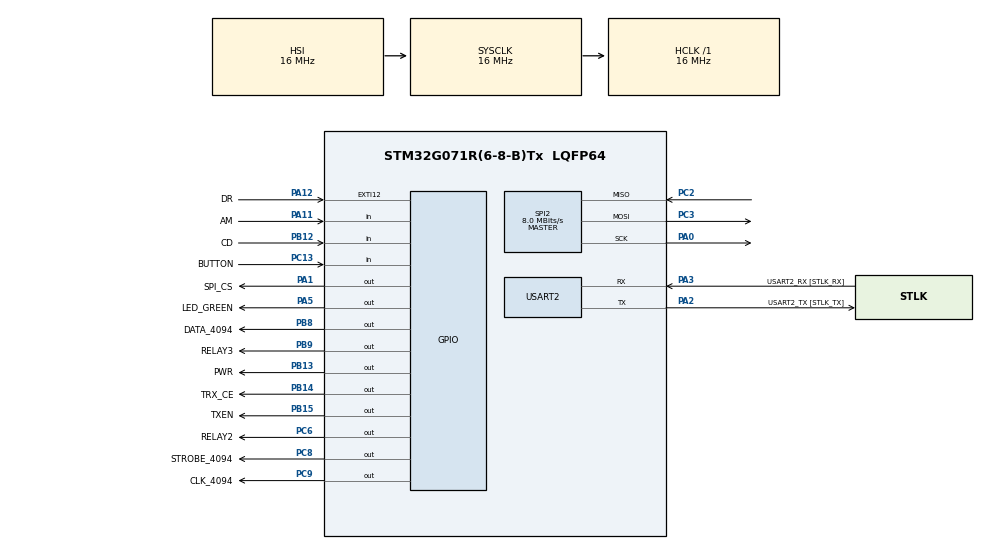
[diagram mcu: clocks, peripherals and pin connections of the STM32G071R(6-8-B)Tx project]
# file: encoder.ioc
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Mcu.Family=STM32G0
Mcu.Name=STM32G071R(6-8-B)Tx
Mcu.Package=LQFP64
NVIC.EXTI4_15_IRQn=true\:0\:0\:false\:false\:true\:true\:true\:true
NVIC.SPI2_IRQn=true\:0\:0\:false\:false\:true\:true\:true\:true
PA0.GPIO_PuPd=GPIO_NOPULL
PA0.Mode=Full_Duplex_Master
PA0.Signal=SPI2_SCK
PA1.GPIO_Label=SPI_CS
PA1.GPIO_PuPd=GPIO_NOPULL
PA1.Signal=GPIO_Output
PA11\ [PA9].GPIO_Label=AM
PA11\ [PA9].Signal=GPIO_Input
PA12\ [PA10].GPIO_Label=DR
PA12\ [PA10].Signal=GPXTI12
PA13.GPIO_Label=TMS
PA13.Mode=Serial_Wire
PA13.Signal=SYS_SWDIO
PA14-BOOT0.GPIO_Label=TCK
PA14-BOOT0.Mode=Serial_Wire
PA14-BOOT0.Signal=SYS_SWCLK
PA2.GPIO_Label=USART2_TX [STLK_TX]
PA2.GPIO_PuPd=GPIO_PULLUP
PA2.Mode=Asynchronous
PA2.Signal=USART2_TX
PA3.GPIO_Label=USART2_RX [STLK_RX]
PA3.GPIO_PuPd=GPIO_PULLUP
PA3.Mode=Asynchronous
PA3.Signal=USART2_RX
PA5.GPIO_Label=LED_GREEN
PA5.GPIO_Speed=GPIO_SPEED_FREQ_HIGH
PA5.Signal=GPIO_Output
PB12.GPIO_Label=CD
PB12.Signal=GPIO_Input
PB13.GPIO_Label=PWR
PB13.GPIO_PuPd=GPIO_NOPULL
PB13.Signal=GPIO_Output
PB14.GPIO_Label=TRX_CE
PB14.GPIO_PuPd=GPIO_NOPULL
PB14.Signal=GPIO_Output
PB15.GPIO_Label=TXEN
PB15.GPIO_PuPd=GPIO_NOPULL
PB15.Signal=GPIO_Output
PB8.GPIO_Label=DATA_4094
PB8.Signal=GPIO_Output
PB9.GPIO_Label=RELAY3
PB9.Signal=GPIO_Output
PC13.GPIO_Label=BUTTON
PC13.Signal=GPIO_Input
PC14-OSC32_IN\ (PC14).Mode=LSE-External-Oscillator
PC14-OSC32_IN\ (PC14).Signal=RCC_OSC32_IN
PC15-OSC32_OUT\ (PC15).Mode=LSE-External-Oscillator
PC15-OSC32_OUT\ (PC15).Signal=RCC_OSC32_OUT
PC2.GPIO_PuPd=GPIO_NOPULL
PC2.Mode=Full_Duplex_Master
PC2.Signal=SPI2_MISO
PC3.GPIO_PuPd=GPIO_NOPULL
PC3.Mode=Full_Duplex_Master
PC3.Signal=SPI2_MOSI
PC6.GPIO_Label=RELAY2
PC6.Signal=GPIO_Output
PC8.GPIO_Label=STROBE_4094
PC8.Signal=GPIO_Output
PC9.GPIO_Label=CLK_4094
PC9.Signal=GPIO_Output
PF0-OSC_IN\ (PF0).GPIO_Label=MCO
PF0-OSC_IN\ (PF0).Mode=HSE-External-Clock-Source
PF0-OSC_IN\ (PF0).Signal=RCC_OSC_IN
ProjectManager.HeapSize=0x200
ProjectManager.StackSize=0x400
ProjectManager.TargetToolchain=STM32CubeIDE
RCC.AHBFreq_Value=16000000
RCC.CortexFreq_Value=16000000
RCC.EXTERNAL_CLOCK_VALUE=12288000
RCC.HCLKFreq_Value=16000000
RCC.HSE_VALUE=8000000
RCC.HSI_VALUE=16000000
RCC.SYSCLKFreq_VALUE=16000000
RCC.VCOOutputFreq_Value=128000000
SPI2.BaudRatePrescaler=SPI_BAUDRATEPRESCALER_2
SPI2.CalculateBaudRate=8.0 MBits/s
SPI2.DataSize=SPI_DATASIZE_8BIT
SPI2.Direction=SPI_DIRECTION_2LINES
SPI2.Mode=SPI_MODE_MASTER
SPI2.VirtualType=VM_MASTER
TIM3.Prescaler=79
USART2.VirtualMode-Asynchronous=VM_ASYNC
VP_SYS_VS_DBSignals.Mode=DisableDeadBatterySignals
VP_TIM3_VS_ClockSourceINT.Mode=Internal
board=NUCLEO-G071RB

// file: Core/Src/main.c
/* USER CODE BEGIN Header */
/**
 ******************************************************************************
 * @file           : main.c
 * @brief          : Main program body
 ******************************************************************************
 * @attention
 *
 * Copyright (c) 2022 STMicroelectronics.
 * All rights reserved.
 *
 * This software is licensed under terms that can be found in the LICENSE file
 * in the root directory of this software component.
 * If no LICENSE file comes with this software, it is provided AS-IS.
 *
 ******************************************************************************
 */
/* USER CODE END Header */
#include "main.h"
#include "spi.h"
#include "tim.h"
#include "usart.h"
#include "gpio.h"

/* USER CODE BEGIN Includes */
#include <stdio.h>
#include <stdlib.h>
#include <stdbool.h>
#include "cd4094.h"

#include "NRF905.h"
/* USER CODE END Includes */

void SystemClock_Config(void);
/* USER CODE BEGIN PFP */
//int _write(int file, char *ptr, int len) {
//	HAL_UART_Transmit(&huart2, (uint8_t*) ptr, len, 50);
//	for (int i = 0; i < len; i++) {
//		ITM_SendChar(*ptr++);
//	}
//	return len;
//}
/* USER CODE END PFP */

/* USER CODE BEGIN 0 */
extern void initialise_monitor_handles(void);
NRF905_hw_t NRF905_hw;
NRF905_t NRF905;

int master;
int ret;

char buffer[64];
uint8_t nrf905_payload_buffer[NRF905_MAX_PAYLOAD];

volatile bool tx_flag = false;
volatile int state = 0;

int dr = 0;
int temp_dr = 0;

uint32_t my_address;
uint32_t receiver_address;

#define ADDRESS_MASTER 0xA2B5D154
#define ADDRESS_SLAVE  0xA2B5D154

/* USER CODE END 0 */

int main(void)
{
	/* USER CODE BEGIN 1 */
	initialise_monitor_handles();
	/* USER CODE END 1 */

	/* MCU Configuration--------------------------------------------------------*/

	/* Reset of all peripherals, Initializes the Flash interface and the Systick. */
	HAL_Init();

	/* Configure the system clock */
	SystemClock_Config();

	/* Initialize all configured peripherals */
	MX_GPIO_Init();
	MX_USART2_UART_Init();
	MX_SPI2_Init();
	MX_TIM3_Init();
	/* USER CODE BEGIN 2 */
	uint32_t uid = 0x00;
	for (uint8_t i = 0; i < 3; ++i) {
		uid += *(uint32_t*) (UID_BASE + i * 4);
	}
	srand(uid);

	//  	Pins and ports declaration
	NRF905_hw.gpio[NRF905_HW_GPIO_TXEN].pin = TXEN_Pin;
	NRF905_hw.gpio[NRF905_HW_GPIO_TXEN].port = TXEN_GPIO_Port;
	NRF905_hw.gpio[NRF905_HW_GPIO_TRX_EN].pin = TRX_CE_Pin;
	NRF905_hw.gpio[NRF905_HW_GPIO_TRX_EN].port = TRX_CE_GPIO_Port;
	NRF905_hw.gpio[NRF905_HW_GPIO_PWR].pin = PWR_Pin;
	NRF905_hw.gpio[NRF905_HW_GPIO_PWR].port = PWR_GPIO_Port;

	NRF905_hw.gpio[NRF905_HW_GPIO_CD].pin = CD_Pin;
	NRF905_hw.gpio[NRF905_HW_GPIO_CD].port = CD_GPIO_Port;
	NRF905_hw.gpio[NRF905_HW_GPIO_AM].pin = AM_Pin;
	NRF905_hw.gpio[NRF905_HW_GPIO_AM].port = AM_GPIO_Port;
	NRF905_hw.gpio[NRF905_HW_GPIO_DR].pin = DR_Pin;
	NRF905_hw.gpio[NRF905_HW_GPIO_DR].port = DR_GPIO_Port;

	NRF905_hw.gpio[NRF905_HW_GPIO_CS].pin = SPI_CS_Pin;
	NRF905_hw.gpio[NRF905_HW_GPIO_CS].port = SPI_CS_GPIO_Port;

	NRF905_hw.tim = &htim3;
	NRF905_hw.spi = &hspi2;

	//  address allocation for master and slave
	master = 1; //HAL_GPIO_ReadPin(MODE_GPIO_Port, MODE_Pin);     //Giving Master's address to this device
	if (master == 1) {
		my_address = ADDRESS_MASTER;
		receiver_address = ADDRESS_SLAVE;
	} else {
		my_address = ADDRESS_SLAVE;
		receiver_address = ADDRESS_MASTER;
	}

	if (master == 1) {
		printf("Mode: Master, TX, %08lX\r\n", my_address);
		HAL_GPIO_WritePin(LED_GREEN_GPIO_Port, LED_GREEN_Pin, GPIO_PIN_RESET);
	} else {
		printf("Mode: Slave, RX, %08lX\r\n", my_address);
		HAL_GPIO_WritePin(LED_GREEN_GPIO_Port, LED_GREEN_Pin, GPIO_PIN_SET);
	}

	//  NRF initialization and setting address
	NRF905_init(&NRF905, &NRF905_hw);
	NRF905_set_listen_address(&NRF905, receiver_address);

	//  Checking configuration Register values
	printf("Reg conf: ");
	for (int i = 0; i < 10; ++i) {
		uint8_t d = NRF905_read_config_register(&NRF905, i);
		printf("%02X, ", d);
	}
	printf("\r\n");
	/* USER CODE END 2 */

	/* Infinite loop */
	/* USER CODE BEGIN WHILE */
	while (1) {

		if(!HAL_GPIO_ReadPin(BUTTON_GPIO_Port, BUTTON_Pin)){

			// Data to be sent. Data at 0, 4, and 8 are for authentication at receiver side.
			//Rest of the data is taken as 1 bit for each key press (Total 24 bits i.e 3 bytes).
			//5,6,7 are duplicate of 1,2,3 respectively. At the receiver end we'll check if they are same.
			nrf905_payload_buffer[0] = 0xD3;
			nrf905_payload_buffer[1] = 0b01001100;
			nrf905_payload_buffer[2] = 0b01001010;
			nrf905_payload_buffer[3] = 0b00010101;
			nrf905_payload_buffer[4] = 0x16;
			nrf905_payload_buffer[5] = nrf905_payload_buffer[1];
			nrf905_payload_buffer[6] = nrf905_payload_buffer[2];
			nrf905_payload_buffer[7] = nrf905_payload_buffer[3];
			nrf905_payload_buffer[8] = 0x69;

			ret = 0;

			//		 Sending Data using SPI interrupt
			switch(state){

			case 0:
				//			NRF transmit using interrupt
				//			If Data is there to transmit, state will be 1, else 2.
				state = NRF905_tx_it(&NRF905, my_address, (uint8_t*)nrf905_payload_buffer, NRF905_MAX_PAYLOAD);
				break;

			case 1:
				if(tx_flag == true){     //Checking if the interrupt has occurred
					state++;
					tx_flag = false;
					ret = 1;
				}

				break;

			case 2:
				//Selecting next mode
				state = NRF905_tx_down(&NRF905, NRF905_NEXTMODE_STANDBY);

				break;
			default:
				break;

			}

		}

		/* USER CODE END WHILE */

	}
}

void SystemClock_Config(void)
{
	RCC_OscInitTypeDef RCC_OscInitStruct = {0};
	RCC_ClkInitTypeDef RCC_ClkInitStruct = {0};

	/** Configure the main internal regulator output voltage
	 */
	HAL_PWREx_ControlVoltageScaling(PWR_REGULATOR_VOLTAGE_SCALE1);

	/** Initializes the RCC Oscillators according to the specified parameters
	 * in the RCC_OscInitTypeDef structure.
	 */
	RCC_OscInitStruct.OscillatorType = RCC_OSCILLATORTYPE_HSI;
	RCC_OscInitStruct.HSIState = RCC_HSI_ON;
	RCC_OscInitStruct.HSIDiv = RCC_HSI_DIV1;
	RCC_OscInitStruct.HSICalibrationValue = RCC_HSICALIBRATION_DEFAULT;
	RCC_OscInitStruct.PLL.PLLState = RCC_PLL_NONE;
	if (HAL_RCC_OscConfig(&RCC_OscInitStruct) != HAL_OK)
	{
		Error_Handler();
	}

	/** Initializes the CPU, AHB and APB buses clocks
	 */
	RCC_ClkInitStruct.ClockType = RCC_CLOCKTYPE_HCLK|RCC_CLOCKTYPE_SYSCLK
			|RCC_CLOCKTYPE_PCLK1;
	RCC_ClkInitStruct.SYSCLKSource = RCC_SYSCLKSOURCE_HSI;
	RCC_ClkInitStruct.AHBCLKDivider = RCC_SYSCLK_DIV1;
	RCC_ClkInitStruct.APB1CLKDivider = RCC_HCLK_DIV1;

	if (HAL_RCC_ClockConfig(&RCC_ClkInitStruct, FLASH_LATENCY_0) != HAL_OK)
	{
		Error_Handler();
	}
}

/* USER CODE BEGIN 4 */

//Callback function for SPI interrupt
void HAL_SPI_TxCpltCallback(SPI_HandleTypeDef *hspi){

	NRF905_spi_deselect(&NRF905);
	tx_flag = true;

}

// Callback function for DR interrupt
void HAL_GPIO_EXTI_Rising_Callback(uint16_t GPIO_Pin){

	if (GPIO_Pin == GPIO_PIN_12){      //verifying if it is generated at appropriate pin

		state = 0;

	}

}
/* USER CODE END 4 */

void Error_Handler(void)
{
	__disable_irq();
	while (1)
	{
	}
}
